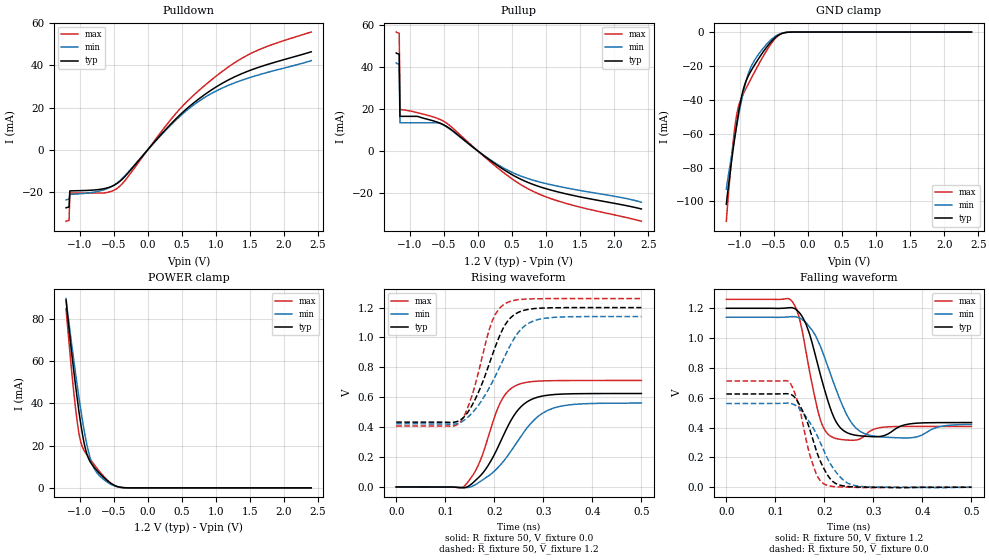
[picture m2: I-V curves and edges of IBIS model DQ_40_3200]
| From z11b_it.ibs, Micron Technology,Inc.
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| MODEL DQ_40_3200 (40 Ohm Data I/O with no ODT, 1600-3200Mbps)
[Model]   DQ_40_3200
Model_type   I/O
Vinl = 905.000mV
Vinh = 1015.000mV
Vmeas = 960.000mV
Vref = 1200.000mV
Cref = 0.0pF
Rref = 50.000Ohm
|   typ   min   max
|C_comp   0.780pF   0.730pF   0.830pF
C_comp_pullup   0.390pF   0.365pF   0.415pF
C_comp_pulldown   0.390pF   0.365pF   0.415pF
[Model Spec]
| Timing spec test load voltage corners
Vref   1.2000V   1.1400V   1.2600V
| Dynamic Overshoot Parameters from DDR4 Specification
|D_overshoot_ampl_h   0.40   NA   NA
|D_overshoot_ampl_l   0.40   NA   NA
|D_overshoot_area_h   0.0800n   NA   NA
|D_overshoot_area_l   0.0800n   NA   NA
[Voltage Range]   1.2000V   1.1400V   1.2600V
| Junction Temperature (Ambient temp is 35C typ, 95C min, -40C max)
[Temperature Range]   50.0   110.0   -40.0
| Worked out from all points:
|   slope of the pulldown table from 0 to 0.18 V, typ, clamps not added: 27 ohm
|   slope of the pullup table from 0 to 0.18 V, typ, clamps not added: 41 ohm
|   GND clamp passes 1 mA (typ) near -0.39 V on its own axis
|   POWER clamp passes 1 mA (typ) near -0.48 V on its own axis
|   rising waveform, R_fixture 50, V_fixture 0.0: 20-80 % time 61.1ps typ, 79.3ps min, 46.3ps max; typ from 0 V to 0.625 V
|   rising waveform, R_fixture 50, V_fixture 1.2: 20-80 % time 54.7ps typ, 69.3ps min, 42.2ps max; typ from 0.434 V to 1.2 V
|   falling waveform, R_fixture 50, V_fixture 1.2: 20-80 % time 38.6ps typ, 49.6ps min, 30ps max; typ from 1.2 V to 0.434 V
|   falling waveform, R_fixture 50, V_fixture 0.0: 20-80 % time 41.8ps typ, 54ps min, 31.7ps max; typ from 0.625 V to 0 V
[Pulldown]
|   Voltage   I(typ)   I(min)   I(max)
-1.2V     -27.55mA   -23.81mA   -33.94mA
-1.156V   -27.16mA   -23.4mA    -33.5mA
-1.145V   -19.52mA   -21.17mA   -20.58mA
-687.3mV  -18.73mA   -19.4mA    -20.55mA
-436.4mV  -15.64mA   -15.41mA   -17.98mA
-316.4mV  -12mA      -11.65mA   -13.87mA
163.6mV   6.078mA    5.846mA    7.107mA
469.1mV   16.42mA    15.76mA    19.27mA
763.6mV   24.45mA    23.3mA     28.48mA
1.047V    30.65mA    28.57mA    36.02mA
1.593V    38.71mA    35.17mA    46.87mA
2.4V      46.45mA    42.25mA    55.82mA
[GND Clamp]
|   Voltage   I(typ)   I(min)   I(max)
-1.2V     -101.7mA   -92.86mA   -111.8mA
-1.135V   -79.96mA   -75.85mA   -79.4mA
-1.102V   -69.91mA   -67.92mA   -65.62mA
-1.058V   -57.35mA   -57.73mA   -51.32mA
-1.015V   -46.2mA    -48.11mA   -42.96mA
-938.2mV  -32.13mA   -33.39mA   -35.52mA
-883.6mV  -26.44mA   -25.42mA   -31.18mA
-829.1mV  -22.35mA   -19.88mA   -26.94mA
-632.7mV  -10.25mA   -8.308mA   -12.55mA
-436.4mV  -1.919mA   -1.478mA   -2.075mA
-250.9mV  -38.95uA   -39.89uA   -11.47uA
2.4V      0A         0A         0A
[Pullup]
|   Voltage   I(typ)   I(min)   I(max)
-1.2V     46.58mA    41.86mA    56.52mA
-1.156V   46.03mA    41.25mA    55.98mA
-1.145V   16.48mA    13.4mA     19.73mA
-883.6mV  16.45mA    13.4mA     18.16mA
-567.3mV  13.38mA    13.3mA     15.16mA
-392.7mV  10.21mA    9.959mA    11.55mA
0V        727.4nA    681.7nA    853.3nA
294.5mV   -7.008mA   -6.491mA   -8.144mA
567.3mV   -12.38mA   -11.07mA   -14.67mA
840mV     -16.21mA   -14.11mA   -19.6mA
1.385V    -20.99mA   -18.05mA   -25.68mA
2.4V      -27.51mA   -24.29mA   -33.35mA
[Power Clamp]
|   Voltage   I(typ)   I(min)   I(max)
-1.2V     88.83mA    89.6mA     84.8mA
-1.135V   68.72mA    72.21mA    60.94mA
-1.08V    53.49mA    58.78mA    43.22mA
-1.036V   42.21mA    48.5mA     31.23mA
-992.7mV  32.04mA    38.77mA    22.83mA
-916.4mV  18.53mA    23.93mA    16.66mA
-829.1mV  11.48mA    12.35mA    12.77mA
-752.7mV  8.419mA    7.418mA    9.535mA
-632.7mV  4.49mA     3.59mA     4.929mA
-490.9mV  1.198mA    934.3uA    1.128mA
-349.1mV  89.66uA    82.6uA     42.6uA
2.4V      0A         0A         0A
[Ramp]
|   typ   min   max
dV/dt_r   375.12m/61.12p   336.65m/79.27p   427.43m/46.29p
dV/dt_f   459.72m/38.58p   431.14m/49.64p   511.18m/29.99p
R_load = 50
[Rising Waveform]
R_fixture = 50
V_fixture = 0.0
|   Time   V(typ)   V(min)   V(max)
0s        2.479uV    7.011uV    131.9nV
139ps     -5.06mV    -4.742mV   6.102mV
169ps     66.47mV    31.15mV    157.7mV
190ps     157.1mV    77.91mV    359.2mV
214ps     311.9mV    153.1mV    574.8mV
229ps     414.5mV    216mV      643.5mV
247ps     509.3mV    303.3mV    682.8mV
284ps     596.1mV    456.8mV    707mV
322ps     618.3mV    528.7mV    711.3mV
500ps     625.2mV    561.1mV    712.4mV
[Rising Waveform]
R_fixture   = 50
V_fixture   = 1.2
V_fixture_min = 1.14
V_fixture_max = 1.26
|   Time   V(typ)   V(min)   V(max)
0s        433.8mV    422.3mV    408mV
113ps     432mV      419.4mV    406.9mV
131ps     448.5mV    431.5mV    434.6mV
156ps     554.1mV    499.3mV    626.7mV
194ps     864.2mV    689.2mV    1.095V
207ps     979.9mV    774.3mV    1.18V
224ps     1.094V     891.2mV    1.23V
253ps     1.173V     1.05V      1.254V
289ps     1.195V     1.12V      1.259V
500ps     1.2V       1.14V      1.26V
[Falling Waveform]
R_fixture   = 50
V_fixture   = 1.2
V_fixture_min = 1.14
V_fixture_max = 1.26
|   Time   V(typ)   V(min)   V(max)
0s        1.2V       1.14V      1.26V
135ps     1.203V     1.144V     1.243V
149ps     1.171V     1.136V     1.132V
163ps     1.09V      1.101V     900.2mV
190ps     777.2mV    960.1mV    471.5mV
215ps     503.3mV    734.3mV    337.9mV
252ps     358.1mV    449mV      315.3mV
286ps     341.3mV    354.7mV    357.5mV
379ps     426.9mV    332.5mV    407.9mV
500ps     433.8mV    421.4mV    408mV
[Falling Waveform]
R_fixture = 50
V_fixture = 0.0
|   Time   V(typ)   V(min)   V(max)
0s        625.2mV    561.3mV    712.4mV
129ps     624.9mV    562.9mV    702.8mV
142ps     592.3mV    547.5mV    608.6mV
154ps     522.3mV    509.9mV    460.6mV
167ps     419.6mV    450.4mV    257.3mV
179ps     291.2mV    386.1mV    128mV
203ps     100.5mV    215mV      16.14mV
233ps     12.78mV    65.67mV    1.669mV
261ps     2.19mV     12.29mV    -300.2uV
500ps     7.719uV    -192.2uV   4.913uV
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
